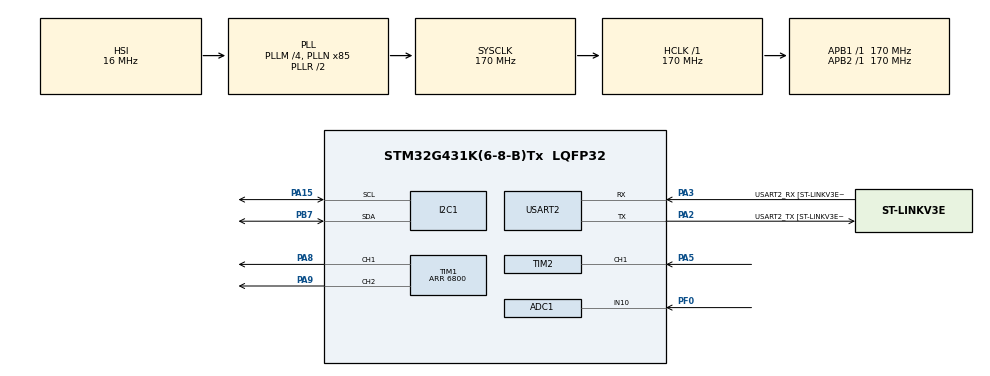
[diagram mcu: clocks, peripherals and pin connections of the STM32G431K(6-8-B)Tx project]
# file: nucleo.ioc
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ADC1.Channel-0\#ChannelRegularConversion=ADC_CHANNEL_10
ADC1.NbrOfConversionFlag=1
ADC1.OffsetNumber-0\#ChannelRegularConversion=ADC_OFFSET_NONE
ADC1.Rank-0\#ChannelRegularConversion=1
ADC1.SamplingTime-0\#ChannelRegularConversion=ADC_SAMPLETIME_2CYCLES_5
ADC1.master=1
I2C1.Timing=0x40B285C2
Mcu.Family=STM32G4
Mcu.Name=STM32G431K(6-8-B)Tx
Mcu.Package=LQFP32
NVIC.PriorityGroup=NVIC_PRIORITYGROUP_4
NVIC.TIM2_IRQn=true\:0\:0\:false\:false\:true\:true\:true\:true
NVIC.TIM3_IRQn=true\:0\:0\:false\:false\:true\:true\:true\:true
PA13.GPIO_Label=T_SWDIO
PA13.Mode=Serial_Wire
PA13.Signal=SYS_JTMS-SWDIO
PA14.Mode=Serial_Wire
PA14.Signal=SYS_JTCK-SWCLK
PA15.Mode=I2C
PA15.Signal=I2C1_SCL
PA2.GPIO_Label=USART2_TX [ST-LINKV3E_VCP_RX]
PA2.Mode=Asynchronous
PA2.Signal=USART2_TX
PA3.GPIO_Label=USART2_RX [ST-LINKV3E_VCP_TX]
PA3.Mode=Asynchronous
PA3.Signal=USART2_RX
PA5.Signal=S_TIM2_CH1
PA8.Signal=S_TIM1_CH1
PA9.Signal=S_TIM1_CH2
PB3.GPIO_Label=T_SWO
PB3.Signal=SYS_JTDO-SWO
PB7.Mode=I2C
PB7.Signal=I2C1_SDA
PF0-OSC_IN.Mode=IN10-Single-Ended
PF0-OSC_IN.Signal=ADC1_IN10
ProjectManager.HeapSize=0x200
ProjectManager.StackSize=0x400
ProjectManager.TargetToolchain=STM32CubeIDE
RCC.ADC12Freq_Value=170000000
RCC.AHBFreq_Value=170000000
RCC.APB1Freq_Value=170000000
RCC.APB1TimFreq_Value=170000000
RCC.APB2Freq_Value=170000000
RCC.APB2TimFreq_Value=170000000
RCC.CortexFreq_Value=170000000
RCC.EXTERNAL_CLOCK_VALUE=12288000
RCC.HCLKFreq_Value=170000000
RCC.HSE_VALUE=8000000
RCC.HSI48_VALUE=48000000
RCC.HSI_VALUE=16000000
RCC.LSE_VALUE=32768
RCC.PLLM=RCC_PLLM_DIV4
RCC.PLLN=85
RCC.SYSCLKFreq_VALUE=170000000
RCC.SYSCLKSource=RCC_SYSCLKSOURCE_PLLCLK
RCC.USBFreq_Value=170000000
RCC.VCOOutputFreq_Value=340000000
SH.S_TIM1_CH1.0=TIM1_CH1,PWM Generation1 CH1
SH.S_TIM1_CH2.0=TIM1_CH2,PWM Generation2 CH2
SH.S_TIM2_CH1.0=TIM2_CH1,Input_Capture1_from_TI1
TIM1.AutoReloadPreload=TIM_AUTORELOAD_PRELOAD_ENABLE
TIM1.Channel-PWM\ Generation1\ CH1=TIM_CHANNEL_1
TIM1.Channel-PWM\ Generation2\ CH2=TIM_CHANNEL_2
TIM1.PeriodNoDither=6800
TIM1.PulseNoDither_1=3400
TIM2.Channel-Input_Capture1_from_TI1=TIM_CHANNEL_1
TIM3.PeriodNoDither=5313
TIM3.Prescaler=31
USART2.VirtualMode-Asynchronous=VM_ASYNC
VP_SYS_VS_DBSignals.Mode=DisableDeadBatterySignals
VP_TIM1_VS_ClockSourceINT.Mode=Internal
VP_TIM2_VS_ClockSourceINT.Mode=Internal
VP_TIM3_VS_ClockSourceINT.Mode=Internal
board=NUCLEO-G431KB

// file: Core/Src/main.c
/* USER CODE BEGIN Header */
/**
  ******************************************************************************
  * @file           : main.c
  * @brief          : Main program body
  ******************************************************************************
  * @attention
  *
  * Copyright (c) 2026 STMicroelectronics.
  * All rights reserved.
  *
  * This software is licensed under terms that can be found in the LICENSE file
  * in the root directory of this software component.
  * If no LICENSE file comes with this software, it is provided AS-IS.
  *
  ******************************************************************************
  */
/* USER CODE END Header */
#include "main.h"
#include "adc.h"
#include "i2c.h"
#include "tim.h"
#include "usart.h"
#include "gpio.h"

void SystemClock_Config(void);

/* USER CODE BEGIN 0 */

void quickCheck(void)
{
	// Spin through duty cycles 90%, 80%, .... 10%
	__HAL_TIM_SET_COMPARE(&htim1, TIM_CHANNEL_1, 0);
	__HAL_TIM_SET_COMPARE(&htim1, TIM_CHANNEL_2, 0);
	HAL_TIM_PWM_Start(&htim1, TIM_CHANNEL_1);
	HAL_TIM_PWM_Start(&htim1, TIM_CHANNEL_2);
	for(int i = 10; i >= 1; i--)
	{
		int duty = i*680;
		__HAL_TIM_SET_COMPARE(&htim1, TIM_CHANNEL_1, duty);
		HAL_TIM_PWM_Start(&htim1, TIM_CHANNEL_1);
		HAL_Delay(5000);
		HAL_TIM_PWM_Stop(&htim1, TIM_CHANNEL_1);
		HAL_Delay(3000);
	}
}

// Prepare TIM2 for counting pulses.
// We count the number of pulses inside a fixed time window of 1ms
// at no load : HALL Sensor delivers pulses with 2.8kHz -> 2.8kHz/16 = 175 RPS = 175*60 = 10500 RPM
// in 1ms, we would count 2.8 pulses
// we need to count at least 2 pulses to estimate frequency.
// With 16 RPC
// -> if we want to measure down to 1 RPS we need to wait for at least 2*1/*16 = 125ms
// -> for measuring 10RPS, we need to measure for 12,5ms
// if we wait for 10ms, we can measure down to ~ 2/16 Umdrehungen/10ms = 1/8*100 = 12.5 RPS
void recordStepResponse(void)
{
	HAL_TIM_Base_Start_IT(&htim3); // this will fire period elapsed callback on TIM3 every 10ms
	HAL_TIM_IC_Start_IT(&htim2, TIM_CHANNEL_1); // this will start TIM2 counting and waiting for pulses with input capture

	__HAL_TIM_SET_COMPARE(&htim1, TIM_CHANNEL_1, 6800); // always high for 100% duty cycle
	__HAL_TIM_SET_COMPARE(&htim1, TIM_CHANNEL_2, 0); // keeping that zero uses coast mode

	HAL_TIM_PWM_Start(&htim1, TIM_CHANNEL_2);
	HAL_TIM_PWM_Start(&htim1, TIM_CHANNEL_1);

}

void setMotorRPM(float rpm)
{
	static volatile int a = 0;
}

void setMotorDuty(void)
{
	__HAL_TIM_SET_COMPARE(&htim1, TIM_CHANNEL_1, 0);
	__HAL_TIM_SET_COMPARE(&htim1, TIM_CHANNEL_2, 0);
	HAL_TIM_PWM_Start(&htim1, TIM_CHANNEL_1);
	HAL_TIM_PWM_Start(&htim1, TIM_CHANNEL_2);
	for(int i = 10; i >= 1; i--)
	{
		int duty = i*680;
		__HAL_TIM_SET_COMPARE(&htim1, TIM_CHANNEL_1, duty);
		HAL_TIM_PWM_Start(&htim1, TIM_CHANNEL_1);
		HAL_Delay(5000);
		HAL_TIM_PWM_Stop(&htim1, TIM_CHANNEL_1);
		HAL_Delay(3000);
	}
}

/* USER CODE END 0 */

int main(void)
{

  /* MCU Configuration--------------------------------------------------------*/

  /* Reset of all peripherals, Initializes the Flash interface and the Systick. */
  HAL_Init();

  /* Configure the system clock */
  SystemClock_Config();

  /* Initialize all configured peripherals */
  MX_GPIO_Init();
  MX_I2C1_Init();
  MX_TIM1_Init();
  MX_ADC1_Init();
  MX_TIM2_Init();
  MX_TIM3_Init();
  MX_USART2_UART_Init();

  /* Infinite loop */
  /* USER CODE BEGIN WHILE */

  HAL_Delay(2000);
  recordStepResponse();

  while (1)
  {

	  //stop reporting of values
	  if(f_measurement_finished)
	  {
		HAL_TIM_Base_Stop_IT(&htim3);
		HAL_TIM_IC_Stop(&htim2, TIM_CHANNEL_1);

		HAL_TIM_PWM_Stop(&htim1, TIM_CHANNEL_1);
		HAL_TIM_PWM_Stop(&htim1, TIM_CHANNEL_2);

		//send values to PC
		HAL_UART_Transmit(&huart2, (uint8_t*)motor_rpm, sizeof(motor_rpm), HAL_MAX_DELAY);
		f_measurement_finished = 0;
		//memset(motor_rpm, 0, sizeof(motor_rpm));

	  }

    /* USER CODE END WHILE */

  }
}

void SystemClock_Config(void)
{
  RCC_OscInitTypeDef RCC_OscInitStruct = {0};
  RCC_ClkInitTypeDef RCC_ClkInitStruct = {0};

  /** Configure the main internal regulator output voltage
  */
  HAL_PWREx_ControlVoltageScaling(PWR_REGULATOR_VOLTAGE_SCALE1_BOOST);

  /** Initializes the RCC Oscillators according to the specified parameters
  * in the RCC_OscInitTypeDef structure.
  */
  RCC_OscInitStruct.OscillatorType = RCC_OSCILLATORTYPE_HSI;
  RCC_OscInitStruct.HSIState = RCC_HSI_ON;
  RCC_OscInitStruct.HSICalibrationValue = RCC_HSICALIBRATION_DEFAULT;
  RCC_OscInitStruct.PLL.PLLState = RCC_PLL_ON;
  RCC_OscInitStruct.PLL.PLLSource = RCC_PLLSOURCE_HSI;
  RCC_OscInitStruct.PLL.PLLM = RCC_PLLM_DIV4;
  RCC_OscInitStruct.PLL.PLLN = 85;
  RCC_OscInitStruct.PLL.PLLP = RCC_PLLP_DIV2;
  RCC_OscInitStruct.PLL.PLLQ = RCC_PLLQ_DIV2;
  RCC_OscInitStruct.PLL.PLLR = RCC_PLLR_DIV2;
  if (HAL_RCC_OscConfig(&RCC_OscInitStruct) != HAL_OK)
  {
    Error_Handler();
  }

  /** Initializes the CPU, AHB and APB buses clocks
  */
  RCC_ClkInitStruct.ClockType = RCC_CLOCKTYPE_HCLK|RCC_CLOCKTYPE_SYSCLK
                              |RCC_CLOCKTYPE_PCLK1|RCC_CLOCKTYPE_PCLK2;
  RCC_ClkInitStruct.SYSCLKSource = RCC_SYSCLKSOURCE_PLLCLK;
  RCC_ClkInitStruct.AHBCLKDivider = RCC_SYSCLK_DIV1;
  RCC_ClkInitStruct.APB1CLKDivider = RCC_HCLK_DIV1;
  RCC_ClkInitStruct.APB2CLKDivider = RCC_HCLK_DIV1;

  if (HAL_RCC_ClockConfig(&RCC_ClkInitStruct, FLASH_LATENCY_4) != HAL_OK)
  {
    Error_Handler();
  }
}

void Error_Handler(void)
{
  __disable_irq();
  while (1)
  {
  }
}
